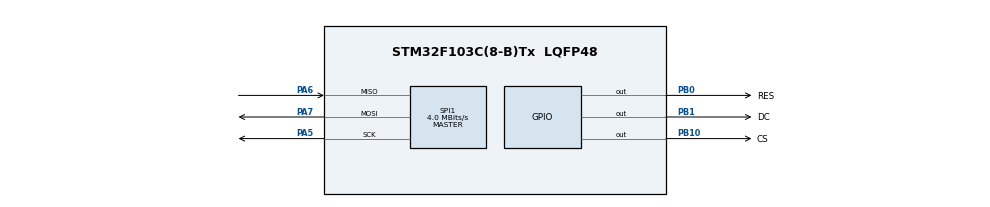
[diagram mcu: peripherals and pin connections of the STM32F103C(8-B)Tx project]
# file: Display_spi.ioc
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Mcu.Family=STM32F1
Mcu.Name=STM32F103C(8-B)Tx
Mcu.Package=LQFP48
NVIC.PriorityGroup=NVIC_PRIORITYGROUP_4
PA13.Mode=Serial_Wire
PA13.Signal=SYS_JTMS-SWDIO
PA14.Mode=Serial_Wire
PA14.Signal=SYS_JTCK-SWCLK
PA5.Mode=Full_Duplex_Master
PA5.Signal=SPI1_SCK
PA6.Mode=Full_Duplex_Master
PA6.Signal=SPI1_MISO
PA7.Mode=Full_Duplex_Master
PA7.Signal=SPI1_MOSI
PB0.GPIO_Label=RES
PB0.Signal=GPIO_Output
PB1.GPIO_Label=DC
PB1.Signal=GPIO_Output
PB10.GPIO_Label=CS
PB10.Signal=GPIO_Output
PD0-OSC_IN.Mode=HSE-External-Oscillator
PD0-OSC_IN.Signal=RCC_OSC_IN
PD1-OSC_OUT.Mode=HSE-External-Oscillator
PD1-OSC_OUT.Signal=RCC_OSC_OUT
ProjectManager.HeapSize=0x200
ProjectManager.StackSize=0x400
ProjectManager.TargetToolchain=STM32CubeIDE
RCC.APB1Freq_Value=8000000
RCC.APB2Freq_Value=8000000
SPI1.CalculateBaudRate=4.0 MBits/s
SPI1.Direction=SPI_DIRECTION_2LINES
SPI1.Mode=SPI_MODE_MASTER
SPI1.VirtualType=VM_MASTER
board=custom

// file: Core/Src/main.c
/* USER CODE BEGIN Header */
/**
  ******************************************************************************
  * @file           : main.c
  * @brief          : Main program body
  ******************************************************************************
  * @attention
  *
  * Copyright (c) 2026 STMicroelectronics.
  * All rights reserved.
  *
  * This software is licensed under terms that can be found in the LICENSE file
  * in the root directory of this software component.
  * If no LICENSE file comes with this software, it is provided AS-IS.
  *
  ******************************************************************************
  */
/* USER CODE END Header */
#include "main.h"

SPI_HandleTypeDef hspi1;

void SystemClock_Config(void);
static void MX_GPIO_Init(void);
static void MX_SPI1_Init(void);

/* USER CODE BEGIN 0 */
void Clear_simbol(uint8_t page, uint8_t col) {
    // Очищаем все 8 страниц (128x64 = 8 страниц по 8 строк)

      Send_command(0xB0 + page);

        // Устанавливаем начальную колонку (младший и старший байты)
      Send_command(0x00 + (col & 0x0F));
      Send_command(0x10 + (col >> 4));
      for(uint8_t i = 0; i < 9; i++) {
              Send_Data(0x00);
       } // 0x00 - все пиксели выключены

}
void Animation(){
	for(int i=0;i<20;++i){
	HAL_Delay(300);
	Clear_simbol(1, 20);
	Clear_simbol(0, 20);
	Clear_simbol(1, 80);
	Clear_simbol(0, 80);
	HAL_Delay(100);
	int	eyes [9] = {
			0b111111111111111111,
			0b111111111111111111,
			0b111111111111111111,
			0b111111111111111111,
			0b111111111111111111,
			0b111111111111111111,
			0b111111111111111111,
			0b111111111111111111,
			0b111111111111111111,
		};
	Oled_SetCursor(1, 25);
	for(int i = 0; i < 9; i++) {
		      Send_Data(eyes[i]);
		    }
	Oled_SetCursor(0, 25);
			for(int i = 0; i < 9; i++) {
			       Send_Data(eyes[i]);
			    }
	Oled_SetCursor(1, 85);
			for(int i = 0; i < 9; i++) {
					 Send_Data(eyes[i]);
					    }
	Oled_SetCursor(0, 85);
				for(int i = 0; i < 9; i++) {
					Send_Data(eyes[i]);
				}

	HAL_Delay(100);
	Clear_simbol(1, 25);
	Clear_simbol(0, 25);
	Clear_simbol(1, 85);
	Clear_simbol(0, 85);
	HAL_Delay(100);
	Oled_SetCursor(1, 20);
		for(int i = 0; i < 9; i++) {
			     Send_Data(eyes[i]);
	}

	Oled_SetCursor(0, 20);
				for(int i = 0; i < 9; i++) {
				      Send_Data(eyes[i]);
	}

	Oled_SetCursor(1, 80);
			for(int i = 0; i < 9; i++) {
					Send_Data(eyes[i]);
	}
	Oled_SetCursor(0, 80);
					for(int i = 0; i < 9; i++) {
						Send_Data(eyes[i]);
	}
	}
}
void Send_Smile(){
	 int	eyes [9] = {
		0b111111111111111111,
		0b111111111111111111,
		0b111111111111111111,
		0b111111111111111111,
		0b111111111111111111,
		0b111111111111111111,
		0b111111111111111111,
		0b111111111111111111,
		0b111111111111111111,
	};
	Oled_SetCursor(1, 20);
	for(int i = 0; i < 9; i++) {
	        Send_Data(eyes[i]);
	    }
	Oled_SetCursor(0, 20);
		for(int i = 0; i < 9; i++) {
		        Send_Data(eyes[i]);
		    }
	Oled_SetCursor(1, 80);
		for(int i = 0; i < 8; i++) {
		        Send_Data(eyes[i]);
		}
		Oled_SetCursor(0, 80);
				for(int i = 0; i < 8; i++) {
				        Send_Data(eyes[i]);
				}
	uint8_t	moth [8] = {
				0b11111111,
				0b11111111,
				0b11111111,
				0b11111111,
				0b11111111,
				0b11111111,
				0b11111111,
				0b11111111,
		};
	Oled_SetCursor(5, 20);
		for(int i = 0; i < 8; i++) {
		        Send_Data(moth[i]);
		    }
	Oled_SetCursor(5, 80);
			for(int i = 0; i < 8; i++) {
			        Send_Data(moth[i]);
			}
	Oled_SetCursor(6, 28);
			for(int i = 0; i < 8; i++) {
					  Send_Data(moth[i]);
					   }

	for(int step = 28; step<78;step++){
		Oled_SetCursor(6, step);
		for(int i = 0; i < 8; i++) {
					Send_Data(moth[i]);
					}
		step = step + 2;
	}

}
void Send_command(uint8_t cmd){
	HAL_GPIO_WritePin(GPIOB, DC_Pin, GPIO_PIN_RESET);
	HAL_GPIO_WritePin(GPIOB, CS_Pin, GPIO_PIN_RESET);
	HAL_SPI_Transmit(&hspi1, &cmd, 1, 100);
	HAL_GPIO_WritePin(GPIOB, CS_Pin, GPIO_PIN_SET);
}
void Oled_SetCursor(uint8_t page, uint8_t column) {
    Send_command(0xB0 + page);           // Выбор страницы
    Send_command(0x00 + (column & 0x0F)); // Младшая часть адреса
    Send_command(0x10 + (column >> 4));   // Старшая часть адреса
}

void Send_Data(uint8_t data){
	HAL_GPIO_WritePin(GPIOB, DC_Pin, GPIO_PIN_SET);
	HAL_GPIO_WritePin(GPIOB, CS_Pin, GPIO_PIN_RESET);
	HAL_SPI_Transmit(&hspi1, &data, 1, 100);
	HAL_GPIO_WritePin(GPIOB, CS_Pin, GPIO_PIN_SET);
}

void Oled_Clear(void) {
    // Очищаем все 8 страниц (128x64 = 8 страниц по 8 строк)
    for(uint8_t page = 0; page < 8; page++) {
        // Устанавливаем страницу (0-7)
        Send_command(0xB0 + page);

        // Устанавливаем начальную колонку (младший и старший байты)
        Send_command(0x00);  // Младший байт колонки = 0
        Send_command(0x10);  // Старший байт колонки = 0

        // Заполняем все 128 колонок нулями
        for(uint8_t col = 0; col < 128; col++) {
            Send_Data(0x00);  // 0x00 - все пиксели выключены
        }
    }
}
void Oled_Test(void) {
    // Рисуем линию в верхней части
    Send_command(0xB0);  // Page 0
    Send_command(0x00);  // Lower column
    Send_command(0x10);  // Higher column

    for(int i = 0; i < 128; i++) {
        if(i < 20) {
            Send_Data(0x00);  // Белая полоска в начале
        } else {
            Send_Data(0xFF);
        }
    }
}

void Oled_Init(){
	 HAL_GPIO_WritePin(GPIOB, RES_Pin, GPIO_PIN_RESET); // Сброс (низкий уровень)
	    HAL_Delay(10);
	    HAL_GPIO_WritePin(GPIOB, RES_Pin, GPIO_PIN_SET);   // Снимаем сброс (высокий уровень)
	    HAL_Delay(10);

	    Send_command(0xAE); // Display OFF

	    Send_command(0xD5); // Set display clock divide ratio/oscillator frequency
	    Send_command(0x80); // Suggested ratio

	    Send_command(0xA8); // Set multiplex ratio
	    Send_command(0x3F); // 64 lines

	    Send_command(0xD3); // Set display offset
	    Send_command(0x00); // No offset

	    Send_command(0x40); // Set start line

	    Send_command(0x8D); // Charge pump
	    Send_command(0x14); // Enable charge pump

	    Send_command(0x20); // Memory mode
	    Send_command(0x00); // Horizontal mode

	    Send_command(0xA1); // Segment remap
	    Send_command(0xC8); // COM output scan direction

	    Send_command(0xDA); // COM pins hardware configuration
	    Send_command(0x12);

	    Send_command(0x81); // Contrast
	    Send_command(0xCF);

	    Send_command(0xD9); // Pre-charge period
	    Send_command(0xF1);

	    Send_command(0xDB); // VCOMH deselect level
	    Send_command(0x40);

	    Send_command(0xA4); // Display on resume

	    Send_command(0xA6); // Normal display (не инвертировать)

	    Send_command(0x2E); // Deactivate scroll

	    Send_command(0xAF); // Display ON
}
/* USER CODE END 0 */

int main(void)
{

  /* MCU Configuration--------------------------------------------------------*/

  /* Reset of all peripherals, Initializes the Flash interface and the Systick. */
  HAL_Init();

  /* Configure the system clock */
  SystemClock_Config();

  /* Initialize all configured peripherals */
  MX_GPIO_Init();
  MX_SPI1_Init();
  /* USER CODE BEGIN 2 */
  Oled_Init();
  HAL_Delay(100);
  Oled_Clear();
  Send_Smile();
  Animation();
  /* USER CODE END 2 */

  /* Infinite loop */
  while (1)
  {

  }
}

void SystemClock_Config(void)
{
  RCC_OscInitTypeDef RCC_OscInitStruct = {0};
  RCC_ClkInitTypeDef RCC_ClkInitStruct = {0};

  /** Initializes the RCC Oscillators according to the specified parameters
  * in the RCC_OscInitTypeDef structure.
  */
  RCC_OscInitStruct.OscillatorType = RCC_OSCILLATORTYPE_HSI;
  RCC_OscInitStruct.HSIState = RCC_HSI_ON;
  RCC_OscInitStruct.HSICalibrationValue = RCC_HSICALIBRATION_DEFAULT;
  RCC_OscInitStruct.PLL.PLLState = RCC_PLL_NONE;
  if (HAL_RCC_OscConfig(&RCC_OscInitStruct) != HAL_OK)
  {
    Error_Handler();
  }

  /** Initializes the CPU, AHB and APB buses clocks
  */
  RCC_ClkInitStruct.ClockType = RCC_CLOCKTYPE_HCLK|RCC_CLOCKTYPE_SYSCLK
                              |RCC_CLOCKTYPE_PCLK1|RCC_CLOCKTYPE_PCLK2;
  RCC_ClkInitStruct.SYSCLKSource = RCC_SYSCLKSOURCE_HSI;
  RCC_ClkInitStruct.AHBCLKDivider = RCC_SYSCLK_DIV1;
  RCC_ClkInitStruct.APB1CLKDivider = RCC_HCLK_DIV1;
  RCC_ClkInitStruct.APB2CLKDivider = RCC_HCLK_DIV1;

  if (HAL_RCC_ClockConfig(&RCC_ClkInitStruct, FLASH_LATENCY_0) != HAL_OK)
  {
    Error_Handler();
  }
}

static void MX_SPI1_Init(void)
{

  /* SPI1 parameter configuration*/
  hspi1.Instance = SPI1;
  hspi1.Init.Mode = SPI_MODE_MASTER;
  hspi1.Init.Direction = SPI_DIRECTION_2LINES;
  hspi1.Init.DataSize = SPI_DATASIZE_8BIT;
  hspi1.Init.CLKPolarity = SPI_POLARITY_LOW;
  hspi1.Init.CLKPhase = SPI_PHASE_1EDGE;
  hspi1.Init.NSS = SPI_NSS_SOFT;
  hspi1.Init.BaudRatePrescaler = SPI_BAUDRATEPRESCALER_2;
  hspi1.Init.FirstBit = SPI_FIRSTBIT_MSB;
  hspi1.Init.TIMode = SPI_TIMODE_DISABLE;
  hspi1.Init.CRCCalculation = SPI_CRCCALCULATION_DISABLE;
  hspi1.Init.CRCPolynomial = 10;
  if (HAL_SPI_Init(&hspi1) != HAL_OK)
  {
    Error_Handler();
  }

}

static void MX_GPIO_Init(void)
{
  GPIO_InitTypeDef GPIO_InitStruct = {0};

  /* GPIO Ports Clock Enable */
  __HAL_RCC_GPIOD_CLK_ENABLE();
  __HAL_RCC_GPIOA_CLK_ENABLE();
  __HAL_RCC_GPIOB_CLK_ENABLE();

  /*Configure GPIO pin Output Level */
  HAL_GPIO_WritePin(GPIOB, RES_Pin|DC_Pin|CS_Pin, GPIO_PIN_RESET);

  /*Configure GPIO pins : RES_Pin DC_Pin CS_Pin */
  GPIO_InitStruct.Pin = RES_Pin|DC_Pin|CS_Pin;
  GPIO_InitStruct.Mode = GPIO_MODE_OUTPUT_PP;
  GPIO_InitStruct.Pull = GPIO_NOPULL;
  GPIO_InitStruct.Speed = GPIO_SPEED_FREQ_LOW;
  HAL_GPIO_Init(GPIOB, &GPIO_InitStruct);

}

void Error_Handler(void)
{
  __disable_irq();
  while (1)
  {
  }
}
